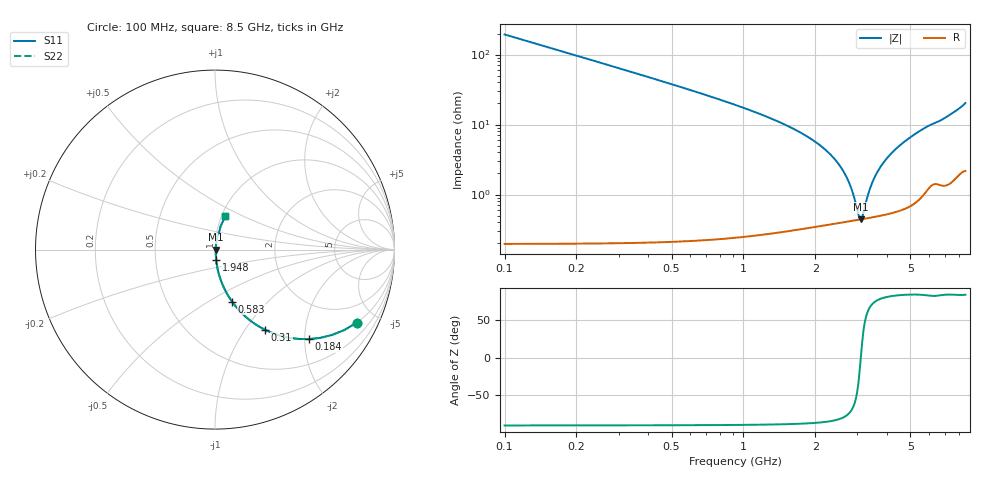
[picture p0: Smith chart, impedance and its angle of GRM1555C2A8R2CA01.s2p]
!Murata Part Number: GRM1555C2A8R2CA01
!These Parameters are Measured in Series Mode Connection
!Data Generated on Mar 30, 2021
!  o--ll--o
!Port1  Port2
!  o------o
!Operation Temp=25[degC], DC Bias Voltage=0[V]
!Freq. Start=100[MHz] Stop=9[GHz] 401[Steps]
# Hz S RI R 50
!Freq.(Hz) S11(Real) S11(Imag) S21(Real) S21(Imag) S12(Real) S12(Imag) S22(Real) S22(Imag)
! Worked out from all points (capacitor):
!   401 points, 100 MHz to 8.5 GHz, reference 50 ohm
!   read as one part in series: C = 8.2 pF near 142 MHz
!   lowest |Z| = 441 mohm at 3.103 GHz (marker M1)
!   series resonance near 3.1 GHz, so ESL is about 320 pH
!   S11 on the Smith chart (normalised r, x): 100 MHz: 1.00, -3.88; 184 MHz: 1.00, -2.10; 310 MHz: 1.00, -1.24; 583 MHz: 1.00, -0.64; 1.948 GHz: 1.01, -0.12; 8.5 GHz: 1.04, +0.40
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1e8  0.7896 -0.4071  0.2104 0.4071  0.2104 0.4071  0.7896 -0.4071
1.84e8  0.5248 -0.4984  0.4752 0.4984  0.4752 0.4984  0.5248 -0.4984
3.1e8  0.2781 -0.4464  0.7219 0.4464  0.7219 0.4464  0.2781 -0.4464
4.36e8  0.161 -0.3652  0.839 0.3652  0.839 0.3652  0.161 -0.3652
5.83e8  0.095 -0.2898  0.905 0.2898  0.905 0.2898  0.095 -0.2898
9.61e8  0.0344 -0.1756  0.9656 0.1756  0.9656 0.1756  0.0344 -0.1756
1.507e9  0.0124 -0.0966  0.9876 0.0966  0.9876 0.0966  0.0124 -0.0966
1.948e9  0.00695 -0.0595  0.9931 0.0595  0.9931 0.0595  0.00695 -0.0595
2.557e9  0.00451 -0.0241  0.9955 0.0241  0.9955 0.0241  0.00451 -0.0241
2.746e9  0.00432 -0.0151  0.9957 0.0151  0.9957 0.0151  0.00432 -0.0151
2.914e9  0.00429 -0.00772  0.9957 0.00772  0.9957 0.00772  0.00429 -0.00772
3.04e9  0.00435 -0.00245  0.9957 0.00245  0.9957 0.00245  0.00435 -0.00245
3.103e9  0.00439 0.000112  0.9956 -0.000112  0.9956 -0.000112  0.00439 0.000112
3.166e9  0.00445 0.00262  0.9955 -0.00262  0.9955 -0.00262  0.00445 0.00262
3.376e9  0.00473 0.0107  0.9953 -0.0107  0.9953 -0.0107  0.00473 0.0107
3.586e9  0.00514 0.0183  0.9949 -0.0183  0.9949 -0.0183  0.00514 0.0183
3.901e9  0.00595 0.0292  0.994 -0.0292  0.994 -0.0292  0.00595 0.0292
4.3e9  0.00734 0.0423  0.9927 -0.0423  0.9927 -0.0423  0.00734 0.0423
4.909e9  0.0104 0.0614  0.9896 -0.0614  0.9896 -0.0614  0.0104 0.0614
5.707e9  0.0174 0.0854  0.9826 -0.0854  0.9826 -0.0854  0.0174 0.0854
7.114e9  0.0291 0.1236  0.9709 -0.1236  0.9709 -0.1236  0.0291 0.1236
8.5e9  0.0582 0.1864  0.9418 -0.1864  0.9418 -0.1864  0.0582 0.1864
